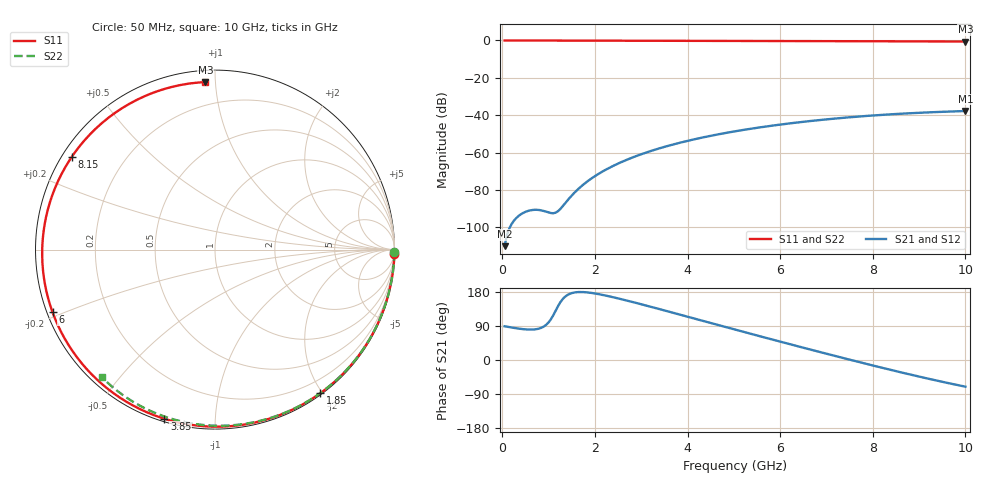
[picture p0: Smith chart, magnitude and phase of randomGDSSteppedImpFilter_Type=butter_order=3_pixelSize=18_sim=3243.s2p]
! freq	dB(S11)	phase(S11)	dB(S12)	phase(S12)
!  dB(S21)	phase(S21)	dB(S22)	phase(S22)
!S-par simulation data
#  GHz  S  DB  R 50
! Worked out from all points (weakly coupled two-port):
!   200 points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, 50 MHz to 10 GHz, reference 50 ohm
!   highest |S21| = -37.76 dB at 10 GHz (marker M1); lowest = -110.1 dB at 50 MHz (marker M2)
!   lowest |S11| = -0.6 dB at 10 GHz (marker M3), VSWR 29.64, Z = 3.19 + j47.1 ohm
!   |S11| at or under -10 dB: nowhere
!   |S22| runs from -0.4 to 0.0 dB; largest |S21 - S12| = 0
!   S11 on the Smith chart (normalised r, x): 50 MHz: 0, -76; 1.85 GHz: 0.02, -1.97; 3.85 GHz: 0.01, -0.74; 6 GHz: 0.02, -0.19; 8.15 GHz: 0.03, +0.30; 10 GHz: 0.06, +0.94
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0.05  -0.00 -1.5  -110.09 89.0  -110.09 89.0  -0.00 -0.8
0.4  -0.02 -11.9  -93.03 82.1  -93.03 82.1  -0.01 -6.1
0.8  -0.03 -23.7  -90.75 83.1  -90.75 83.1  -0.02 -12.1
1.6  -0.06 -46.8  -80.44 178.9  -80.44 178.9  -0.03 -24.0
1.75  -0.06 -51.0  -77.12 179.2  -77.12 179.2  -0.03 -26.2
1.85  -0.07 -53.8  -75.19 178.2  -75.19 178.2  -0.04 -27.7
2.15  -0.08 -62.2  -70.34 172.2  -70.34 172.2  -0.04 -32.1
2.5  -0.09 -71.7  -65.88 162.6  -65.88 162.6  -0.05 -37.1
2.9  -0.11 -82.3  -61.80 150.3  -61.80 150.3  -0.06 -42.8
3.4  -0.12 -95.3  -57.68 134.1  -57.68 134.1  -0.07 -49.9
3.85  -0.14 -106.7  -54.64 119.3  -54.64 119.3  -0.08 -56.1
4.45  -0.17 -121.5  -51.28 99.4  -51.28 99.4  -0.09 -64.3
5.05  -0.20 -136.0  -48.51 79.5  -48.51 79.5  -0.11 -72.2
6  -0.26 -158.9  -45.02 48.5  -45.02 48.5  -0.15 -84.4
6.7  -0.32 -175.9  -42.99 26.0  -42.99 26.0  -0.18 -93.1
7.45  -0.38 165.3  -41.21 2.4  -41.21 2.4  -0.22 -102.1
8.15  -0.44 147.0  -39.90 -19.0  -39.90 -19.0  -0.27 -110.3
8.35  -0.46 141.5  -39.58 -25.0  -39.58 -25.0  -0.29 -112.7
8.8  -0.50 129.0  -38.95 -38.1  -38.95 -38.1  -0.33 -117.9
9.25  -0.53 116.0  -38.43 -50.7  -38.43 -50.7  -0.37 -123.0
9.65  -0.56 104.0  -38.05 -61.5  -38.05 -61.5  -0.41 -127.5
10  -0.59 93.3  -37.76 -70.4  -37.76 -70.4  -0.45 -131.5
